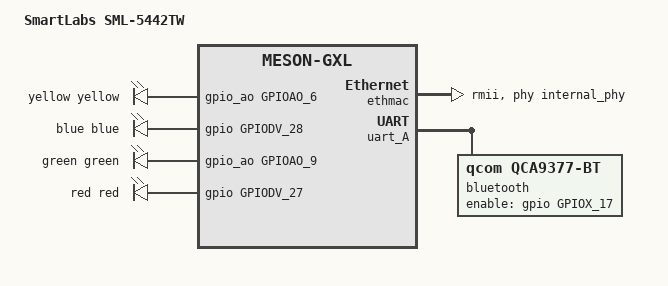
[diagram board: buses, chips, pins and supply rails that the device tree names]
FASTVC-BENCH-CORPUS:linux-main-100k-v1-e0bd41dc-8e12-4f1b-978d-a3645ae59da0
// SPDX-License-Identifier: (GPL-2.0+ OR MIT)
/*
/* bench 28142.1.0 01ce78718aca */
/* bench 28142.1.1 3df580bc652e */
/* bench 28142.1.2 b2583c058b47 */
/* bench 28142.1.3 b1d14a64a6cb */
/* bench 28142.1.4 7d18c336219e */
/* bench 28142.1.5 44ebd33df87f */
/* bench 28142.1.6 225cf782a58f */
/* bench 28142.1.7 ab8702e4b7d6 */
/* bench 28142.1.8 fef8ccb390be */
/* bench 28142.1.9 6e1180863e08 */

/dts-v1/;

#include "meson-gxl-s905d.dtsi"
#include "meson-gx-p23x-q20x.dtsi"
#include <dt-bindings/leds/common.h>

/ {
	compatible = "smartlabs,sml5442tw", "amlogic,s905d", "amlogic,meson-gxl";
	model = "SmartLabs SML-5442TW";

	leds {
		compatible = "gpio-leds";

		yellow {
			color = <LED_COLOR_ID_YELLOW>;
			function = LED_FUNCTION_STATUS;
			gpios = <&gpio_ao GPIOAO_6 GPIO_ACTIVE_HIGH>;
			default-state = "off";
		};

		blue {
			color = <LED_COLOR_ID_BLUE>;
			function = LED_FUNCTION_STATUS;
			gpios = <&gpio GPIODV_28 GPIO_ACTIVE_HIGH>;
			default-state = "off";
		};

		green {
			color = <LED_COLOR_ID_GREEN>;
			function = LED_FUNCTION_STATUS;
			gpios = <&gpio_ao GPIOAO_9 GPIO_ACTIVE_HIGH>;
			default-state = "on";
		};

		red {
			color = <LED_COLOR_ID_RED>;
			function = LED_FUNCTION_STATUS;
			gpios = <&gpio GPIODV_27 GPIO_ACTIVE_HIGH>;
			default-state = "off";
		};
	};
};

&ethmac {
	status = "okay";
	phy-mode = "rmii";
	phy-handle = <&internal_phy>;
};
/* bench 7827.1.0 191cf349a43a */
/* bench 7827.1.1 027612d4a9c5 */
/* bench 7827.1.2 88026ab33ef3 */
/* bench 7827.1.3 792a053126b3 */
/* bench 7827.1.4 2de35c499400 */
/* bench 7827.1.5 37d6e3134181 */
/* bench 7827.1.6 f64cc7e1f852 */
/* bench 7827.1.7 2771b8dda6da */
/* bench 7827.1.8 1e906fc65ffa */
/* bench 7827.1.9 af36284433d7 */
/* bench 7827.1.10 6e6b8c7dbff2 */
/* bench 7827.1.11 f489942347f0 */
/* bench 7827.1.12 7673e1a61503 */
	status = "okay";
	pinctrl-0 = <&i2c_a_pins>;
	pinctrl-names = "default";
};

&internal_phy {
	pinctrl-0 = <&eth_link_led_pins>, <&eth_act_led_pins>;
	pinctrl-names = "default";
};

&ir {
        linux,rc-map-name = "rc-khamsin";
};

/* This is connected to the Bluetooth module: */
&uart_A {
	status = "okay";
	pinctrl-0 = <&uart_a_pins>, <&uart_a_cts_rts_pins>;
	pinctrl-names = "default";
	uart-has-rtscts;

	bluetooth {
		compatible = "qcom,qca9377-bt";
		enable-gpios = <&gpio GPIOX_17 GPIO_ACTIVE_HIGH>;
		max-speed = <2000000>;
		clocks = <&wifi32k>;
		clock-names = "lpo";
	};
};
